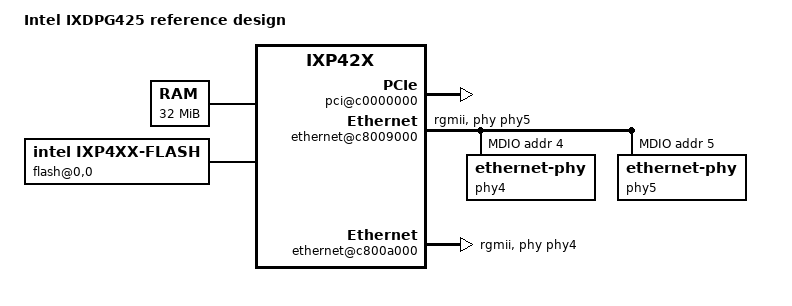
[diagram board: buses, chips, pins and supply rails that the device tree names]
// SPDX-License-Identifier: ISC
/*
 * Device Tree file for the Intel IXDPG425 reference design.
 * Derived from boardfiles written by MontaVista software.
 * Ethernet set-up from OpenWrt.
 *
 * The device has 4 x FXS RJ11 ports for analog phones for
 * internet telephony. (Not supported yet.)
 *
 * The device has 9 status LEDs we do not support yet.
 *
 * This device is very similar to ADI engingeering Coyote.
 */

/dts-v1/;

#include "intel-ixp42x.dtsi"
#include <dt-bindings/input/input.h>

/ {
	model = "Intel IXDPG425 reference design";
	compatible = "intel,ixdpg425", "intel,ixp42x";
	#address-cells = <1>;
	#size-cells = <1>;

	memory@0 {
		/* 32 MB SDRAM */
		device_type = "memory";
		reg = <0x00000000 0x02000000>;
	};

	chosen {
		bootargs = "console=ttyS0,115200n8 root=/dev/sda1 rw rootwait";
		stdout-path = "uart0:115200n8";
	};

	aliases {
		serial0 = &uart0;
	};

	soc {
		bus@c4000000 {
			flash@0,0 {
				compatible = "intel,ixp4xx-flash", "cfi-flash";
				bank-width = <2>;
				/*
				 * CHECKME: the product brief says 16MB in a flash
				 * socket.
				 */
				reg = <0 0x00000000 0x1000000>;

				/* Configure expansion bus to allow writes */
				intel,ixp4xx-eb-write-enable = <1>;

				partitions {
					compatible = "redboot-fis";
					/* CHECKME: guess this is Redboot FIS */
					fis-index-block = <0x7f>;
				};
			};
		};

		pci@c0000000 {
			status = "ok";

			/*
			 * Taken from IXDPG425 PCI boardfile.
			 * We have slots (IDSEL) 12, 13 and 14 with one assigned IRQ
			 * for 12 & 13 and one for 14.
			 */
			interrupt-map =
			/* IDSEL 12 */
			<0x6000 0 0 1 &gpio0 7 IRQ_TYPE_LEVEL_LOW>, /* INT A on slot 12 is irq 7 */
			<0x6000 0 0 2 &gpio0 7 IRQ_TYPE_LEVEL_LOW>, /* INT B on slot 12 is irq 7 */
			<0x6000 0 0 3 &gpio0 7 IRQ_TYPE_LEVEL_LOW>, /* INT C on slot 12 is irq 7 */
			<0x6000 0 0 4 &gpio0 7 IRQ_TYPE_LEVEL_LOW>, /* INT D on slot 12 is irq 7 */
			/* IDSEL 13 */
			<0x6800 0 0 1 &gpio0 7 IRQ_TYPE_LEVEL_LOW>, /* INT A on slot 13 is irq 7 */
			<0x6800 0 0 2 &gpio0 7 IRQ_TYPE_LEVEL_LOW>, /* INT B on slot 13 is irq 7 */
			<0x6800 0 0 3 &gpio0 7 IRQ_TYPE_LEVEL_LOW>, /* INT C on slot 13 is irq 7 */
			<0x6800 0 0 4 &gpio0 7 IRQ_TYPE_LEVEL_LOW>, /* INT D on slot 13 is irq 7 */
			/* IDSEL 14 */
			<0x7000 0 0 1 &gpio0 6 IRQ_TYPE_LEVEL_LOW>, /* INT A on slot 14 is irq 6 */
			<0x7000 0 0 2 &gpio0 6 IRQ_TYPE_LEVEL_LOW>, /* INT B on slot 14 is irq 6 */
			<0x7000 0 0 3 &gpio0 6 IRQ_TYPE_LEVEL_LOW>, /* INT C on slot 14 is irq 6 */
			<0x7000 0 0 4 &gpio0 6 IRQ_TYPE_LEVEL_LOW>; /* INT D on slot 14 is irq 6 */
		};

		/*
		 * CHECKME: this ethernet setup seems dubious. Photos of the board shows some kind
		 * of Realtek DSA switch on the board.
		 */

		/* EthB */
		ethernet@c8009000 {
			status = "ok";
			queue-rx = <&qmgr 3>;
			queue-txready = <&qmgr 20>;
			phy-mode = "rgmii";
			phy-handle = <&phy5>;

			mdio {
				#address-cells = <1>;
				#size-cells = <0>;

				phy4: ethernet-phy@4 {
					reg = <4>;
				};

				phy5: ethernet-phy@5 {
					reg = <5>;
				};
			};
		};

		/* EthC */
		ethernet@c800a000 {
			status = "ok";
			queue-rx = <&qmgr 4>;
			queue-txready = <&qmgr 21>;
			phy-mode = "rgmii";
			phy-handle = <&phy4>;
		};
	};
};
